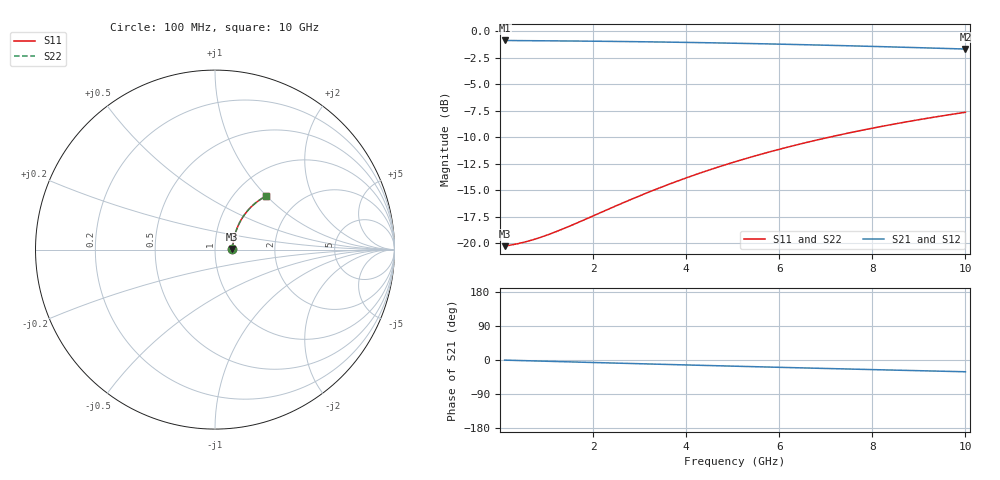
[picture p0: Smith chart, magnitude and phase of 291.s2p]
# Hz S RI R 50.00
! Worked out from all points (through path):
!   100 points, 100 MHz to 10 GHz, reference 50 ohm
!   highest |S21| = -0.88 dB at 100 MHz (marker M1); lowest = -1.7 dB at 10 GHz (marker M2)
!   group delay of S21, straight-line fit = 8.65 ps
!   lowest |S11| = -20.3 dB at 100 MHz (marker M3), VSWR 1.21, Z = 60.7 + j0.487 ohm
!   |S11| at or under -10 dB: start of sweep to 7.085 GHz
!   |S22| runs from -20.3 to -7.7 dB; largest |S21 - S12| = 0
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1e8  0.0966 0.00397  0.9034 -0.00521  0.9034 -0.00521  0.0966 0.00397
3e8  0.0978 0.0119  0.9022 -0.0156  0.9022 -0.0156  0.0978 0.0119
5e8  0.0988 0.0198  0.9012 -0.026  0.9012 -0.026  0.0988 0.0198
8e8  0.1003 0.0315  0.8996 -0.0414  0.8996 -0.0414  0.1003 0.0315
1e9  0.1015 0.0393  0.8984 -0.0517  0.8984 -0.0517  0.1015 0.0393
1.2e9  0.1028 0.0471  0.897 -0.062  0.897 -0.062  0.1028 0.0471
1.5e9  0.105 0.0587  0.8948 -0.0773  0.8948 -0.0773  0.105 0.0587
1.8e9  0.1076 0.0702  0.8921 -0.0925  0.8921 -0.0925  0.1076 0.0702
2.7e9  0.1174 0.1038  0.882 -0.1373  0.882 -0.1373  0.1174 0.1038
3.4e9  0.1271 0.129  0.8719 -0.1712  0.8719 -0.1712  0.1271 0.129
3.8e9  0.1335 0.143  0.8653 -0.1901  0.8653 -0.1901  0.1335 0.143
4.2e9  0.1404 0.1565  0.8581 -0.2087  0.8581 -0.2087  0.1404 0.1565
4.6e9  0.1479 0.1697  0.8503 -0.2268  0.8503 -0.2268  0.1479 0.1697
5.1e9  0.158 0.1855  0.8399 -0.2489  0.8399 -0.2489  0.158 0.1855
5.5e9  0.1666 0.1977  0.8309 -0.2661  0.8309 -0.2661  0.1666 0.1977
5.9e9  0.1756 0.2093  0.8215 -0.2828  0.8215 -0.2828  0.1756 0.2093
6.3e9  0.1851 0.2205  0.8116 -0.299  0.8116 -0.299  0.1851 0.2205
6.7e9  0.1949 0.2312  0.8014 -0.3147  0.8014 -0.3147  0.1949 0.2312
7.5e9  0.2156 0.251  0.7797 -0.3445  0.7797 -0.3445  0.2156 0.251
8.4e9  0.2403 0.2707  0.7539 -0.3756  0.7539 -0.3756  0.2403 0.2707
9.2e9  0.2631 0.2859  0.7299 -0.4009  0.7299 -0.4009  0.2631 0.2859
1e10  0.2865 0.2989  0.7052 -0.4241  0.7052 -0.4241  0.2865 0.2989
